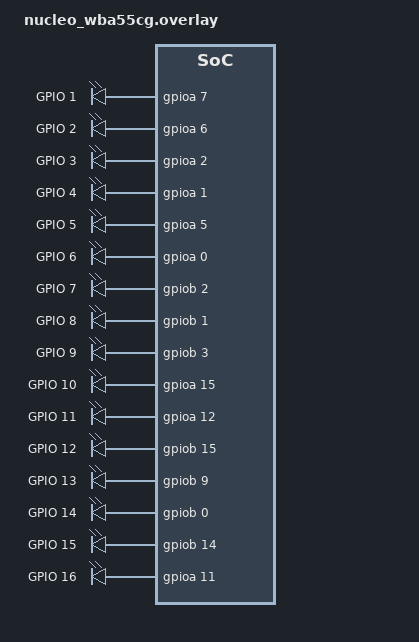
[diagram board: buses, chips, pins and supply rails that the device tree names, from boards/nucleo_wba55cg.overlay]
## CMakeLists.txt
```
# SPDX-License-Identifier: Apache-2.0

cmake_minimum_required(VERSION 3.20.0)
find_package(Zephyr REQUIRED HINTS $ENV{ZEPHYR_BASE})
project(peripheral)

FILE(GLOB app_sources src/*.c)
target_sources(app PRIVATE ${app_sources})
```

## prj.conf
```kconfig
# Increased stack due to settings API usage
CONFIG_SYSTEM_WORKQUEUE_STACK_SIZE=2048

CONFIG_BT=y
CONFIG_LOG=y
CONFIG_BT_SMP=y
CONFIG_BT_SIGNING=y
CONFIG_BT_PERIPHERAL=y
CONFIG_BT_DIS=y
CONFIG_BT_ATT_PREPARE_COUNT=5
CONFIG_BT_BAS=y
CONFIG_BT_HRS=y
CONFIG_BT_IAS=y
CONFIG_BT_CTS=y
CONFIG_BT_CTS_HELPER_API=y
CONFIG_BT_PRIVACY=y
CONFIG_BT_DEVICE_NAME="Zephyr Peripheral Sample Long Name"
CONFIG_BT_DEVICE_APPEARANCE=833
CONFIG_BT_DEVICE_NAME_DYNAMIC=y
CONFIG_BT_DEVICE_NAME_MAX=65

CONFIG_BT_KEYS_OVERWRITE_OLDEST=y
CONFIG_BT_SETTINGS=y
CONFIG_FLASH=y
CONFIG_FLASH_MAP=y
CONFIG_NVS=y
CONFIG_SETTINGS=y

CONFIG_THREAD_NAME=y
CONFIG_DEBUG_THREAD_INFO=y
```

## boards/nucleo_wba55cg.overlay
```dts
/*
 * Copyright (c)  2025 STMicroelectronics
 *
 * SPDX-License-Identifier: Apache-2.0
 */

/ {
	gpios_debug {
		compatible = "gpio-leds";
		gpio1: gpio1 {
			label = "GPIO 1";
			gpios = <&gpioa 7 GPIO_ACTIVE_HIGH>;
		};
		gpio2: gpio2 {
			label = "GPIO 2";
			gpios = <&gpioa 6 GPIO_ACTIVE_HIGH>;
		};
		gpio3: gpio3 {
			label = "GPIO 3";
			gpios = <&gpioa 2 GPIO_ACTIVE_HIGH>;
		};
		gpio4: gpio4 {
			label = "GPIO 4";
			gpios = <&gpioa 1 GPIO_ACTIVE_HIGH>;
		};
		gpio5: gpio5 {
			label = "GPIO 5";
			gpios = <&gpioa 5 GPIO_ACTIVE_HIGH>;
		};
		gpio6: gpio6 {
			label = "GPIO 6";
			gpios = <&gpioa 0 GPIO_ACTIVE_HIGH>;
		};
		gpio7: gpio7 {
			label = "GPIO 7";
			gpios = <&gpiob 2 GPIO_ACTIVE_HIGH>;
		};
		gpio8: gpio8 {
			label = "GPIO 8";
			gpios = <&gpiob 1 GPIO_ACTIVE_HIGH>;
		};
		gpio9: gpio9 {
			label = "GPIO 9";
			gpios = <&gpiob 3 GPIO_ACTIVE_HIGH>;
		};
		gpio10: gpio10 {
			label = "GPIO 10";
			gpios = <&gpioa 15 GPIO_ACTIVE_HIGH>;
		};
		gpio11: gpio11 {
			label = "GPIO 11";
			gpios = <&gpioa 12 GPIO_ACTIVE_HIGH>;
		};
		gpio12: gpio12 {
			label = "GPIO 12";
			gpios = <&gpiob 15 GPIO_ACTIVE_HIGH>;
		};
		gpio13: gpio13 {
			label = "GPIO 13";
			gpios = <&gpiob 9 GPIO_ACTIVE_HIGH>;
		};
		gpio14: gpio14 {
			label = "GPIO 14";
			gpios = <&gpiob 0 GPIO_ACTIVE_HIGH>;
		};
		gpio15: gpio15 {
			label = "GPIO 15";
			gpios = <&gpiob 14 GPIO_ACTIVE_HIGH>;
		};
		gpio16: gpio16 {
			label = "GPIO 16";
			gpios = <&gpioa 11 GPIO_ACTIVE_HIGH>;
		};
	};

	aliases {
		debug1 = &gpio1;
		debug2 = &gpio2;
		debug3 = &gpio3;
		debug4 = &gpio4;
		debug5 = &gpio5;
		debug6 = &gpio6;
		debug7 = &gpio7;
		debug8 = &gpio8;
		debug9 = &gpio9;
		debug10 = &gpio10;
		debug11 = &gpio11;
		debug12 = &gpio12;
		debug13 = &gpio13;
		debug14 = &gpio14;
		debug15 = &gpio15;
		debug16 = &gpio16;
	};
};
```

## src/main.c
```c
/* main.c - Application main entry point */

/*
 * Copyright (c) 2015-2016 Intel Corporation
 *
 * SPDX-License-Identifier: Apache-2.0
 */

#include <zephyr/types.h>
#include <stddef.h>
#include <string.h>
#include <errno.h>
#include <zephyr/sys/printk.h>
#include <zephyr/sys/byteorder.h>
#include <zephyr/kernel.h>
#include <zephyr/debug_gpios.h>

#include <zephyr/settings/settings.h>

#include <zephyr/bluetooth/bluetooth.h>
#include <zephyr/bluetooth/hci.h>
#include <zephyr/bluetooth/conn.h>
#include <zephyr/bluetooth/uuid.h>
#include <zephyr/bluetooth/gatt.h>
#include <zephyr/bluetooth/services/bas.h>
#include <zephyr/bluetooth/services/cts.h>
#include <zephyr/bluetooth/services/hrs.h>
#include <zephyr/bluetooth/services/ias.h>

/* Custom Service Variables */
#define BT_UUID_CUSTOM_SERVICE_VAL \
	BT_UUID_128_ENCODE(0x12345678, 0x1234, 0x5678, 0x1234, 0x56789abcdef0)

static const struct bt_uuid_128 vnd_uuid = BT_UUID_INIT_128(
	BT_UUID_CUSTOM_SERVICE_VAL);

static const struct bt_uuid_128 vnd_enc_uuid = BT_UUID_INIT_128(
	BT_UUID_128_ENCODE(0x12345678, 0x1234, 0x5678, 0x1234, 0x56789abcdef1));

static const struct bt_uuid_128 vnd_auth_uuid = BT_UUID_INIT_128(
	BT_UUID_128_ENCODE(0x12345678, 0x1234, 0x5678, 0x1234, 0x56789abcdef2));

#define VND_MAX_LEN 20
#define BT_HR_HEARTRATE_DEFAULT_MIN 90U
#define BT_HR_HEARTRATE_DEFAULT_MAX 160U

static uint8_t vnd_value[VND_MAX_LEN + 1] = { 'V', 'e', 'n', 'd', 'o', 'r'};
static uint8_t vnd_auth_value[VND_MAX_LEN + 1] = { 'V', 'e', 'n', 'd', 'o', 'r'};
static uint8_t vnd_wwr_value[VND_MAX_LEN + 1] = { 'V', 'e', 'n', 'd', 'o', 'r' };

static ssize_t read_vnd(struct bt_conn *conn, const struct bt_gatt_attr *attr,
			void *buf, uint16_t len, uint16_t offset)
{
	const char *value = attr->user_data;

	return bt_gatt_attr_read(conn, attr, buf, len, offset, value,
				 strlen(value));
}

static ssize_t write_vnd(struct bt_conn *conn, const struct bt_gatt_attr *attr,
			 const void *buf, uint16_t len, uint16_t offset,
			 uint8_t flags)
{
	uint8_t *value = attr->user_data;

	if (offset + len > VND_MAX_LEN) {
		return BT_GATT_ERR(BT_ATT_ERR_INVALID_OFFSET);
	}

	memcpy(value + offset, buf, len);
	value[offset + len] = 0;

	return len;
}

static uint8_t simulate_vnd;
static uint8_t indicating;
static struct bt_gatt_indicate_params ind_params;

static void vnd_ccc_cfg_changed(const struct bt_gatt_attr *attr, uint16_t value)
{
	simulate_vnd = (value == BT_GATT_CCC_INDICATE) ? 1 : 0;
}

static void indicate_cb(struct bt_conn *conn,
			struct bt_gatt_indicate_params *params, uint8_t err)
{
	printk("Indication %s\n", err != 0U ? "fail" : "success");
}

static void indicate_destroy(struct bt_gatt_indicate_params *params)
{
	printk("Indication complete\n");
	indicating = 0U;
}

#define VND_LONG_MAX_LEN 74
static uint8_t vnd_long_value[VND_LONG_MAX_LEN + 1] = {
		  'V', 'e', 'n', 'd', 'o', 'r', ' ', 'd', 'a', 't', 'a', '1',
		  'V', 'e', 'n', 'd', 'o', 'r', ' ', 'd', 'a', 't', 'a', '2',
		  'V', 'e', 'n', 'd', 'o', 'r', ' ', 'd', 'a', 't', 'a', '3',
		  'V', 'e', 'n', 'd', 'o', 'r', ' ', 'd', 'a', 't', 'a', '4',
		  'V', 'e', 'n', 'd', 'o', 'r', ' ', 'd', 'a', 't', 'a', '5',
		  'V', 'e', 'n', 'd', 'o', 'r', ' ', 'd', 'a', 't', 'a', '6',
		  '.', ' ' };

static ssize_t write_long_vnd(struct bt_conn *conn,
			      const struct bt_gatt_attr *attr, const void *buf,
			      uint16_t len, uint16_t offset, uint8_t flags)
{
	uint8_t *value = attr->user_data;

	if (flags & BT_GATT_WRITE_FLAG_PREPARE) {
		return 0;
	}

	if (offset + len > VND_LONG_MAX_LEN) {
		return BT_GATT_ERR(BT_ATT_ERR_INVALID_OFFSET);
	}

	memcpy(value + offset, buf, len);
	value[offset + len] = 0;

	return len;
}

static const struct bt_uuid_128 vnd_long_uuid = BT_UUID_INIT_128(
	BT_UUID_128_ENCODE(0x12345678, 0x1234, 0x5678, 0x1234, 0x56789abcdef3));

static struct bt_gatt_cep vnd_long_cep = {
	.properties = BT_GATT_CEP_RELIABLE_WRITE,
};

static int signed_value;

static ssize_t read_signed(struct bt_conn *conn, const struct bt_gatt_attr *attr,
			   void *buf, uint16_t len, uint16_t offset)
{
	const char *value = attr->user_data;

	return bt_gatt_attr_read(conn, attr, buf, len, offset, value,
				 sizeof(signed_value));
}

static ssize_t write_signed(struct bt_conn *conn, const struct bt_gatt_attr *attr,
			    const void *buf, uint16_t len, uint16_t offset,
			    uint8_t flags)
{
	uint8_t *value = attr->user_data;

	if (offset + len > sizeof(signed_value)) {
		return BT_GATT_ERR(BT_ATT_ERR_INVALID_OFFSET);
	}

	memcpy(value + offset, buf, len);

	return len;
}

static const struct bt_uuid_128 vnd_signed_uuid = BT_UUID_INIT_128(
	BT_UUID_128_ENCODE(0x13345678, 0x1234, 0x5678, 0x1334, 0x56789abcdef3));

static const struct bt_uuid_128 vnd_write_cmd_uuid = BT_UUID_INIT_128(
	BT_UUID_128_ENCODE(0x12345678, 0x1234, 0x5678, 0x1234, 0x56789abcdef4));

static ssize_t write_without_rsp_vnd(struct bt_conn *conn,
				     const struct bt_gatt_attr *attr,
				     const void *buf, uint16_t len, uint16_t offset,
				     uint8_t flags)
{
	uint8_t *value = attr->user_data;

	if (!(flags & BT_GATT_WRITE_FLAG_CMD)) {
		/* Write Request received. Reject it since this Characteristic
		 * only accepts Write Without Response.
		 */
		return BT_GATT_ERR(BT_ATT_ERR_WRITE_REQ_REJECTED);
	}

	if (offset + len > VND_MAX_LEN) {
		return BT_GATT_ERR(BT_ATT_ERR_INVALID_OFFSET);
	}

	memcpy(value + offset, buf, len);
	value[offset + len] = 0;

	return len;
}

/* Vendor Primary Service Declaration */
BT_GATT_SERVICE_DEFINE(vnd_svc,
	BT_GATT_PRIMARY_SERVICE(&vnd_uuid),
	BT_GATT_CHARACTERISTIC(&vnd_enc_uuid.uuid,
			       BT_GATT_CHRC_READ | BT_GATT_CHRC_WRITE |
			       BT_GATT_CHRC_INDICATE,
			       BT_GATT_PERM_READ_ENCRYPT |
			       BT_GATT_PERM_WRITE_ENCRYPT,
			       read_vnd, write_vnd, vnd_value),
	BT_GATT_CCC(vnd_ccc_cfg_changed,
		    BT_GATT_PERM_READ | BT_GATT_PERM_WRITE_ENCRYPT),
	BT_GATT_CHARACTERISTIC(&vnd_auth_uuid.uuid,
			       BT_GATT_CHRC_READ | BT_GATT_CHRC_WRITE,
			       BT_GATT_PERM_READ_AUTHEN |
			       BT_GATT_PERM_WRITE_AUTHEN,
			       read_vnd, write_vnd, vnd_auth_value),
	BT_GATT_CHARACTERISTIC(&vnd_long_uuid.uuid, BT_GATT_CHRC_READ |
			       BT_GATT_CHRC_WRITE | BT_GATT_CHRC_EXT_PROP,
			       BT_GATT_PERM_READ | BT_GATT_PERM_WRITE |
			       BT_GATT_PERM_PREPARE_WRITE,
			       read_vnd, write_long_vnd, &vnd_long_value),
	BT_GATT_CEP(&vnd_long_cep),
	BT_GATT_CHARACTERISTIC(&vnd_signed_uuid.uuid, BT_GATT_CHRC_READ |
			       BT_GATT_CHRC_WRITE | BT_GATT_CHRC_AUTH,
			       BT_GATT_PERM_READ | BT_GATT_PERM_WRITE,
			       read_signed, write_signed, &signed_value),
	BT_GATT_CHARACTERISTIC(&vnd_write_cmd_uuid.uuid,
			       BT_GATT_CHRC_WRITE_WITHOUT_RESP,
			       BT_GATT_PERM_WRITE, NULL,
			       write_without_rsp_vnd, &vnd_wwr_value),
);

static const struct bt_data ad[] = {
	BT_DATA_BYTES(BT_DATA_FLAGS, (BT_LE_AD_GENERAL | BT_LE_AD_NO_BREDR)),
	BT_DATA_BYTES(BT_DATA_UUID16_ALL,
		      BT_UUID_16_ENCODE(BT_UUID_HRS_VAL),
		      BT_UUID_16_ENCODE(BT_UUID_BAS_VAL),
		      BT_UUID_16_ENCODE(BT_UUID_CTS_VAL)),
	BT_DATA_BYTES(BT_DATA_UUID128_ALL, BT_UUID_CUSTOM_SERVICE_VAL),
};

static const struct bt_data sd[] = {
	BT_DATA(BT_DATA_NAME_COMPLETE, CONFIG_BT_DEVICE_NAME, sizeof(CONFIG_BT_DEVICE_NAME) - 1),
};

void mtu_updated(struct bt_conn *conn, uint16_t tx, uint16_t rx)
{
	printk("Updated MTU: TX: %d RX: %d bytes\n", tx, rx);
}

static struct bt_gatt_cb gatt_callbacks = {
	.att_mtu_updated = mtu_updated
};

static void connected(struct bt_conn *conn, uint8_t err)
{
	if (err) {
		printk("Connection failed, err 0x%02x %s\n", err, bt_hci_err_to_str(err));
	} else {
		printk("Connected\n");
	}
}

static void disconnected(struct bt_conn *conn, uint8_t reason)
{
	printk("Disconnected, reason 0x%02x %s\n", reason, bt_hci_err_to_str(reason));
}

static void alert_stop(void)
{
	printk("Alert stopped\n");
}

static void alert_start(void)
{
	printk("Mild alert started\n");
}

static void alert_high_start(void)
{
	printk("High alert started\n");
}

BT_CONN_CB_DEFINE(conn_callbacks) = {
	.connected = connected,
	.disconnected = disconnected,
};

BT_IAS_CB_DEFINE(ias_callbacks) = {
	.no_alert = alert_stop,
	.mild_alert = alert_start,
	.high_alert = alert_high_start,
};

static void bt_ready(void)
{
	int err;

	printk("Bluetooth initialized\n");

	if (IS_ENABLED(CONFIG_SETTINGS)) {
		settings_load();
	}

	err = bt_le_adv_start(BT_LE_ADV_CONN_FAST_1, ad, ARRAY_SIZE(ad), sd, ARRAY_SIZE(sd));
	if (err) {
		printk("Advertising failed to start (err %d)\n", err);
		return;
	}

	printk("Advertising successfully started\n");
}

static void auth_passkey_display(struct bt_conn *conn, unsigned int passkey)
{
	char addr[BT_ADDR_LE_STR_LEN];

	bt_addr_le_to_str(bt_conn_get_dst(conn), addr, sizeof(addr));

	printk("Passkey for %s: %06u\n", addr, passkey);
}

static void auth_cancel(struct bt_conn *conn)
{
	char addr[BT_ADDR_LE_STR_LEN];

	bt_addr_le_to_str(bt_conn_get_dst(conn), addr, sizeof(addr));

	printk("Pairing cancelled: %s\n", addr);
}

static struct bt_conn_auth_cb auth_cb_display = {
	.passkey_display = auth_passkey_display,
	.passkey_entry = NULL,
	.cancel = auth_cancel,
};

static void bas_notify(void)
{
	uint8_t battery_level = bt_bas_get_battery_level();

	battery_level--;

	if (!battery_level) {
		battery_level = 100U;
	}

	bt_bas_set_battery_level(battery_level);
}

static uint8_t bt_heartrate = BT_HR_HEARTRATE_DEFAULT_MIN;

static void hrs_notify(void)
{
	/* Heartrate measurements simulation */
	bt_heartrate++;
	if (bt_heartrate == BT_HR_HEARTRATE_DEFAULT_MAX) {
		bt_heartrate = BT_HR_HEARTRATE_DEFAULT_MIN;
	}

	bt_hrs_notify(bt_heartrate);
}

/**
 * variable to hold reference milliseconds to epoch when device booted
 * this is only for demo purpose, for more precise synchronization please
 * review clock_settime API implementation.
 */
static int64_t unix_ms_ref;
static bool cts_notification_enabled;

void bt_cts_notification_changed(bool enabled)
{
	cts_notification_enabled = enabled;
}

int bt_cts_cts_time_write(struct bt_cts_time_format *cts_time)
{
	int err;
	int64_t unix_ms;

	if (IS_ENABLED(CONFIG_BT_CTS_HELPER_API)) {
		err = bt_cts_time_to_unix_ms(cts_time, &unix_ms);
		if (err) {
			return err;
		}
	} else {
		return -ENOTSUP;
	}

	/* recalculate reference value */
	unix_ms_ref = unix_ms - k_uptime_get();
	return 0;
}

int bt_cts_fill_current_cts_time(struct bt_cts_time_format *cts_time)
{
	int64_t unix_ms = unix_ms_ref + k_uptime_get();

	if (IS_ENABLED(CONFIG_BT_CTS_HELPER_API)) {
		return bt_cts_time_from_unix_ms(cts_time, unix_ms);
	} else {
		return -ENOTSUP;
	}
}

const struct bt_cts_cb cts_cb = {
	.notification_changed = bt_cts_notification_changed,
	.cts_time_write = bt_cts_cts_time_write,
	.fill_current_cts_time = bt_cts_fill_current_cts_time,
};

static int bt_hrs_ctrl_point_write(uint8_t request)
{
	printk("HRS Control point request: %d\n", request);
	if (request != BT_HRS_CONTROL_POINT_RESET_ENERGY_EXPANDED_REQ) {
		return -ENOTSUP;
	}

	bt_heartrate = BT_HR_HEARTRATE_DEFAULT_MIN;
	return 0;
}

static struct bt_hrs_cb hrs_cb = {
	.ctrl_point_write = bt_hrs_ctrl_point_write,
};

#define SLEEP_TIME_MS 5

int main(void)
{
	struct bt_gatt_attr *vnd_ind_attr;
	char str[BT_UUID_STR_LEN];
	int err;

	init_debug_gpios();

	/* Test the GPIOs, Check to be done with a logic analyzer */
	for (int i=0; i<DEBUG_GPIO_COUNT; i++) {
		set_debug_gpio(i+1, 1);
		k_msleep(SLEEP_TIME_MS);
	}
	for (int i=0; i<DEBUG_GPIO_COUNT; i++) {
		set_debug_gpio(i+1, 0);
		k_msleep(SLEEP_TIME_MS);
	}

	set_debug_gpio(3, 1);


	err = bt_enable(NULL);
	if (err) {
		printk("Bluetooth init failed (err %d)\n", err);
		return 0;
	}

	bt_ready();
	bt_cts_init(&cts_cb);
	bt_hrs_cb_register(&hrs_cb);

	bt_gatt_cb_register(&gatt_callbacks);
	bt_conn_auth_cb_register(&auth_cb_display);

	vnd_ind_attr = bt_gatt_find_by_uuid(vnd_svc.attrs, vnd_svc.attr_count,
					    &vnd_enc_uuid.uuid);
	bt_uuid_to_str(&vnd_enc_uuid.uuid, str, sizeof(str));
	printk("Indicate VND attr %p (UUID %s)\n", vnd_ind_attr, str);

	/* Implement notification. At the moment there is no suitable way
	 * of starting delayed work so we do it here
	 */
	while (1) {
		k_sleep(K_SECONDS(1));

		/* Current time update notification example
		 * For testing purposes, we send a manual update notification every second.
		 * In production `bt_cts_send_notification` should only be used when time is changed
		 */
		if (cts_notification_enabled) {
			bt_cts_send_notification(BT_CTS_UPDATE_REASON_MANUAL);
		}
		/* Heartrate measurements simulation */
		hrs_notify();

		/* Battery level simulation */
		bas_notify();

		/* Vendor indication simulation */
		if (simulate_vnd && vnd_ind_attr) {
			if (indicating) {
				continue;
			}

			ind_params.attr = vnd_ind_attr;
			ind_params.func = indicate_cb;
			ind_params.destroy = indicate_destroy;
			ind_params.data = &indicating;
			ind_params.len = sizeof(indicating);

			if (bt_gatt_indicate(NULL, &ind_params) == 0) {
				indicating = 1U;
			}
		}
	}
	return 0;
}
```

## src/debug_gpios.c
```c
/*
 * Copyright (c) 2025 STMicroelectronics
 *
 * SPDX-License-Identifier: Apache-2.0
 */

#include <zephyr/debug_gpios.h>

const struct gpio_dt_spec debug_gpios[DEBUG_GPIO_COUNT] = {
	GPIO_DT_SPEC_GET(DEBUG1_NODE, gpios),
	GPIO_DT_SPEC_GET(DEBUG2_NODE, gpios),
	GPIO_DT_SPEC_GET(DEBUG3_NODE, gpios),
	GPIO_DT_SPEC_GET(DEBUG4_NODE, gpios),
	GPIO_DT_SPEC_GET(DEBUG5_NODE, gpios),
	GPIO_DT_SPEC_GET(DEBUG6_NODE, gpios),
	GPIO_DT_SPEC_GET(DEBUG7_NODE, gpios),
	GPIO_DT_SPEC_GET(DEBUG8_NODE, gpios),
	GPIO_DT_SPEC_GET(DEBUG9_NODE, gpios),
	GPIO_DT_SPEC_GET(DEBUG10_NODE, gpios),
	GPIO_DT_SPEC_GET(DEBUG11_NODE, gpios),
	GPIO_DT_SPEC_GET(DEBUG12_NODE, gpios),
	GPIO_DT_SPEC_GET(DEBUG13_NODE, gpios),
	GPIO_DT_SPEC_GET(DEBUG14_NODE, gpios),
	GPIO_DT_SPEC_GET(DEBUG15_NODE, gpios),
	GPIO_DT_SPEC_GET(DEBUG16_NODE, gpios),
};

int init_debug_gpios(void)
{
	int ret = 0;

	for (uint8_t i=0; i<DEBUG_GPIO_COUNT; i++) {
		if (!gpio_is_ready_dt(&debug_gpios[i])) {
			printk("debug GPIO %d: gpio_is_ready_dt KO!!\n", i);
			return -ENODEV;
		}
		ret = gpio_pin_configure_dt(&debug_gpios[i], GPIO_OUTPUT_INACTIVE);
		if (ret < 0) {
			printk("debug GPIO %d: gpio_pin_configure_dt KO!!\n", i);
			return ret;
		}
	}

	return 0;
}

int set_debug_gpio(uint8_t gpio_number, int value)
{
	if (gpio_number > DEBUG_GPIO_COUNT) {
		return -EINVAL;
	}

	return gpio_pin_set_dt(&debug_gpios[gpio_number - 1], value);
}

int toggle_debug_gpio(uint8_t gpio_number)
{
	if (gpio_number > DEBUG_GPIO_COUNT) {
		return -EINVAL;
	}

	return gpio_pin_toggle_dt(&debug_gpios[gpio_number - 1]);
}
```
